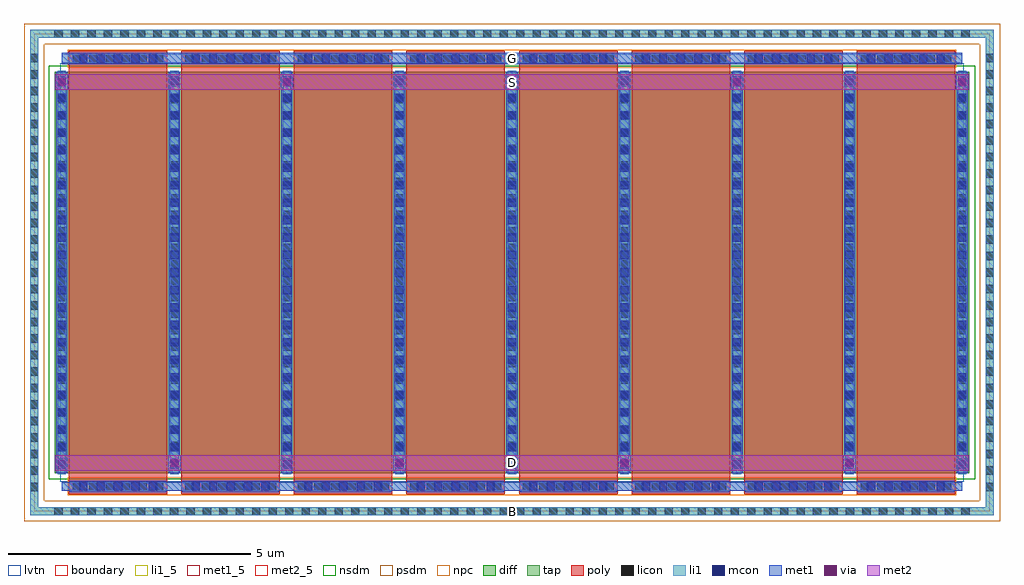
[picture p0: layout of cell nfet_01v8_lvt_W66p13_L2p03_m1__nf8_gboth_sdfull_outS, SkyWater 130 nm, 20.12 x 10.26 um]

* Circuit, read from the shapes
.subckt nfet_01v8_lvt_W66p13_L2p03_m1__nf8_gboth_sdfull_outS B D G S
XM1 D G S B sky130_fd_pr__nfet_01v8_lvt w=8.27 l=2.03 m=8
.ends

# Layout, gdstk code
import gdstk
lib = gdstk.Library(unit=1e-6, precision=1e-09)
def R(c, l, rs):  # rectangles x0, y0, x1, y1
    for r in rs: c.add(gdstk.rectangle(r[:2], r[2:], *l))
def A(c, l, x, y, w, h, nx, ny, dx, dy):  # array of equal rectangles
    R(c, l, [(x+i*dx, y+j*dy, x+i*dx+w, y+j*dy+h) for i in range(nx) for j in range(ny)])
diff = (65, 20)
tap = (65, 44)
poly = (66, 20)
licon = (66, 44)
li1_5 = (67, 5)
li1 = (67, 20)
mcon = (67, 44)
met1_5 = (68, 5)
met1 = (68, 20)
via = (68, 44)
met2_5 = (69, 5)
met2 = (69, 20)
nsdm = (93, 44)
psdm = (94, 20)
npc = (95, 20)
lvtn = (125, 44)
boundary = (235, 4)

sky130_fd_pr__nfet_01v8_ = lib.new_cell('sky130_fd_pr__nfet_01v8_lvt_7JNKSZ')
R(sky130_fd_pr__nfet_01v8_, diff, [(-9.425,-4.135,9.425,4.135)])
R(sky130_fd_pr__nfet_01v8_, tap, [(-9.935,-5.005,9.935,-4.835), (-9.935,-4.835,-9.765,4.835), (9.765,-4.835,9.935,4.835), (-9.935,4.835,9.935,5.005)])
A(sky130_fd_pr__nfet_01v8_, poly, -9.135, -4.575, 2.03, 9.15, 8, 1, 2.32, 0)
A(sky130_fd_pr__nfet_01v8_, licon, -9.435, -5.005, 0.17, 0.17, 56, 2, 0.34, 9.84)
A(sky130_fd_pr__nfet_01v8_, licon, -9.935, -4.505, 0.17, 0.17, 1, 27, 0, 0.34)
A(sky130_fd_pr__nfet_01v8_, licon, 9.765, -4.505, 0.17, 0.17, 1, 27, 0, 0.34)
A(sky130_fd_pr__nfet_01v8_, licon, -9.055, -4.495, 0.17, 0.17, 6, 2, 0.34, 8.82)
A(sky130_fd_pr__nfet_01v8_, licon, -6.735, -4.495, 0.17, 0.17, 6, 2, 0.34, 8.82)
A(sky130_fd_pr__nfet_01v8_, licon, -4.415, -4.495, 0.17, 0.17, 6, 2, 0.34, 8.82)
A(sky130_fd_pr__nfet_01v8_, licon, -2.095, -4.495, 0.17, 0.17, 6, 2, 0.34, 8.82)
A(sky130_fd_pr__nfet_01v8_, licon, 0.225, -4.495, 0.17, 0.17, 6, 2, 0.34, 8.82)
A(sky130_fd_pr__nfet_01v8_, licon, 2.545, -4.495, 0.17, 0.17, 6, 2, 0.34, 8.82)
A(sky130_fd_pr__nfet_01v8_, licon, 4.865, -4.495, 0.17, 0.17, 6, 2, 0.34, 8.82)
A(sky130_fd_pr__nfet_01v8_, licon, 7.185, -4.495, 0.17, 0.17, 6, 2, 0.34, 8.82)
A(sky130_fd_pr__nfet_01v8_, licon, -9.365, -3.995, 0.17, 0.17, 9, 24, 2.32, 0.34)
A(sky130_fd_pr__nfet_01v8_, li1, -9.365, -4.155, 0.17, 8.31, 9, 1, 2.32, 0)
R(sky130_fd_pr__nfet_01v8_, li1, [(-9.935,-5.005,9.935,-4.835), (-9.935,-4.835,-9.765,4.835), (9.765,-4.835,9.935,4.835), (-9.28,-4.495,9.28,-4.325), (-9.28,4.325,9.28,4.495), (-9.935,4.835,9.935,5.005)])
A(sky130_fd_pr__nfet_01v8_, mcon, -8.925, -4.495, 0.17, 0.17, 5, 2, 0.36, 8.82)
A(sky130_fd_pr__nfet_01v8_, mcon, -6.605, -4.495, 0.17, 0.17, 5, 2, 0.36, 8.82)
A(sky130_fd_pr__nfet_01v8_, mcon, -4.285, -4.495, 0.17, 0.17, 5, 2, 0.36, 8.82)
A(sky130_fd_pr__nfet_01v8_, mcon, -1.965, -4.495, 0.17, 0.17, 5, 2, 0.36, 8.82)
A(sky130_fd_pr__nfet_01v8_, mcon, 0.355, -4.495, 0.17, 0.17, 5, 2, 0.36, 8.82)
A(sky130_fd_pr__nfet_01v8_, mcon, 2.675, -4.495, 0.17, 0.17, 5, 2, 0.36, 8.82)
A(sky130_fd_pr__nfet_01v8_, mcon, 4.995, -4.495, 0.17, 0.17, 5, 2, 0.36, 8.82)
A(sky130_fd_pr__nfet_01v8_, mcon, 7.315, -4.495, 0.17, 0.17, 5, 2, 0.36, 8.82)
A(sky130_fd_pr__nfet_01v8_, mcon, -9.365, -4.045, 0.17, 0.17, 9, 23, 2.32, 0.36)
A(sky130_fd_pr__nfet_01v8_, met1, -9.115, -4.525, 1.99, 0.03, 8, 2, 2.32, 0.2)
A(sky130_fd_pr__nfet_01v8_, met1, -9.395, -4.135, 0.23, 8.27, 9, 1, 2.32, 0)
A(sky130_fd_pr__nfet_01v8_, met1, -9.115, 4.295, 1.99, 0.03, 8, 2, 2.32, 0.2)
R(sky130_fd_pr__nfet_01v8_, met1, [(-9.28,-4.495,9.28,-4.325), (-9.28,4.325,9.28,4.495)])
R(sky130_fd_pr__nfet_01v8_, nsdm, [(-9.55,-4.26,9.55,4.26)])
R(sky130_fd_pr__nfet_01v8_, psdm, [(-10.06,-5.13,10.06,-4.71), (-10.06,-4.71,-9.64,4.71), (9.64,-4.71,10.06,4.71), (-10.06,4.71,10.06,5.13)])
R(sky130_fd_pr__nfet_01v8_, npc, [(-9.155,-4.595,9.155,-4.225), (-9.155,4.225,9.155,4.595)])
R(sky130_fd_pr__nfet_01v8_, lvtn, [(-9.315,-4.315,9.315,4.315)])
R(sky130_fd_pr__nfet_01v8_, boundary, [(-9.85,-4.92,9.85,4.92)])
sky130_fd_pr__nfet_01v8_.add(gdstk.Label('B', (0,-4.92), layer=67, texttype=5))
sky130_fd_pr__nfet_01v8_.add(gdstk.Label('D0', (-9.28,0), layer=67, texttype=5))
sky130_fd_pr__nfet_01v8_.add(gdstk.Label('G', (8.12,4.41), layer=67, texttype=5))
sky130_fd_pr__nfet_01v8_.add(gdstk.Label('G', (5.8,4.41), layer=67, texttype=5))
sky130_fd_pr__nfet_01v8_.add(gdstk.Label('G', (3.48,4.41), layer=67, texttype=5))
sky130_fd_pr__nfet_01v8_.add(gdstk.Label('G', (1.16,4.41), layer=67, texttype=5))
sky130_fd_pr__nfet_01v8_.add(gdstk.Label('G', (-1.16,4.41), layer=67, texttype=5))
sky130_fd_pr__nfet_01v8_.add(gdstk.Label('G', (-3.48,4.41), layer=67, texttype=5))
sky130_fd_pr__nfet_01v8_.add(gdstk.Label('G', (-5.8,4.41), layer=67, texttype=5))
sky130_fd_pr__nfet_01v8_.add(gdstk.Label('G', (-8.12,4.41), layer=67, texttype=5))
sky130_fd_pr__nfet_01v8_.add(gdstk.Label('S1', (-6.96,0), layer=67, texttype=5))
sky130_fd_pr__nfet_01v8_.add(gdstk.Label('D2', (-4.64,0), layer=67, texttype=5))
sky130_fd_pr__nfet_01v8_.add(gdstk.Label('S3', (-2.32,0), layer=67, texttype=5))
sky130_fd_pr__nfet_01v8_.add(gdstk.Label('D4', (0,0), layer=67, texttype=5))
sky130_fd_pr__nfet_01v8_.add(gdstk.Label('S5', (2.32,0), layer=67, texttype=5))
sky130_fd_pr__nfet_01v8_.add(gdstk.Label('D6', (4.64,0), layer=67, texttype=5))
sky130_fd_pr__nfet_01v8_.add(gdstk.Label('S7', (6.96,0), layer=67, texttype=5))

nfet_01v8_lvt_w66p13_l2p = lib.new_cell('nfet_01v8_lvt_W66p13_L2p03_m1__nf8_gboth_sdfull_outS')
R(nfet_01v8_lvt_w66p13_l2p, li1_5, [(9.765,-0.085,9.935,0.085)])
R(nfet_01v8_lvt_w66p13_l2p, li1, [(9.765,-0.085,9.935,0.085)])
R(nfet_01v8_lvt_w66p13_l2p, met1_5, [(0.57,9.215,19.13,9.445)])
A(nfet_01v8_lvt_w66p13_l2p, met1, 2.76, 0.835, 0.26, 0.32, 4, 1, 4.64, 0)
A(nfet_01v8_lvt_w66p13_l2p, met1, 0.44, 8.685, 0.26, 0.32, 5, 1, 4.64, 0)
R(nfet_01v8_lvt_w66p13_l2p, met1, [(0.57,9.215,19.13,9.445)])
A(nfet_01v8_lvt_w66p13_l2p, via, 2.815, 0.92, 0.15, 0.15, 4, 1, 4.64, 0)
A(nfet_01v8_lvt_w66p13_l2p, via, 0.495, 8.77, 0.15, 0.15, 5, 1, 4.64, 0)
R(nfet_01v8_lvt_w66p13_l2p, met2_5, [(0.435,0.835,19.265,1.155), (0.435,8.685,19.265,9.005)])
R(nfet_01v8_lvt_w66p13_l2p, met2, [(0.435,0.835,19.265,1.155), (0.435,8.685,19.265,9.005)])
nfet_01v8_lvt_w66p13_l2p.add(gdstk.Reference(sky130_fd_pr__nfet_01v8_, (9.85,4.92)))
nfet_01v8_lvt_w66p13_l2p.add(gdstk.Label('S', (9.85,8.845), layer=69, texttype=5))
nfet_01v8_lvt_w66p13_l2p.add(gdstk.Label('D', (9.85,0.995), layer=69, texttype=5))
nfet_01v8_lvt_w66p13_l2p.add(gdstk.Label('G', (9.85,9.33), layer=68, texttype=5))
nfet_01v8_lvt_w66p13_l2p.add(gdstk.Label('B', (9.85,0), layer=67, texttype=5))

lib.write_gds('nfet_01v8_lvt_W66p13_L2p03_m1__nf8_gboth_sdfull_outS.gds')
